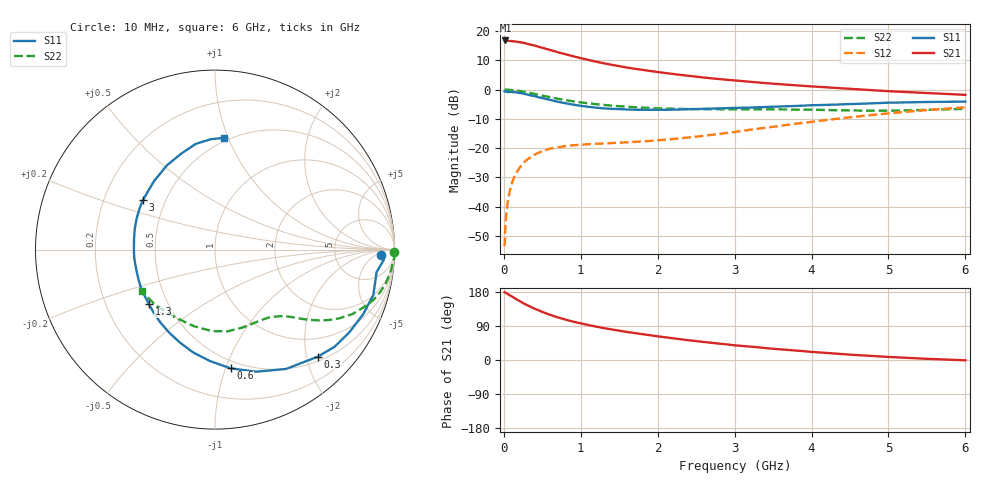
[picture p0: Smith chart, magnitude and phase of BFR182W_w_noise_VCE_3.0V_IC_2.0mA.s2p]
! (c) 2017  Infineon Technologies AG, Munich
! Infineon Technologies  Discrete & RF Semiconductors
! BFR182W
! VCE =  3.0 V,  IC =  2.0 mA
! Common Emitter S-Parameters:  Jan 2017
# GHz  S  MA  R  50
!  f  S11  S21  S12  S22
! GHz  MAG  ANG  MAG  ANG  MAG  ANG  MAG  ANG
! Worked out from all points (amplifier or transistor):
!   77 points, 10 MHz to 6 GHz, reference 50 ohm
!   highest |S21| = 16.8 dB at 20 MHz (marker M1)
!   |S21| within 3 dB of that: start of sweep to 567.7 MHz
!   unconditionally stable (mu >= 1): 1.757 GHz to 3.228 GHz
!   at 130 MHz: K = 0.09, MSG = 23.4 dB, |S12| = -30.2 dB
!   at 2.2 GHz: K = 1.09, MAG = 9.3 dB, |S12| = -16.9 dB
!   at 6 GHz: K = 0.84, MSG = 2.1 dB, |S12| = -6.1 dB
!   lowest NFmin = 0.85 dB at 450 MHz
!   S11 on the Smith chart (normalised r, x): 10 MHz: 23, -10; 300 MHz: 0.59, -2.22; 600 MHz: 0.44, -1.04; 1.3 GHz: 0.39, -0.31; 3 GHz: 0.37, +0.27; 6 GHz: 0.47, +0.96
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0.01  0.928 -1.8  6.857 178.9  0.0021 81.6  1 -0.7
0.02  0.9426 -3.4  6.935 177.9  0.0046 93.2  1 -1.7
0.05  0.9091 -7.9  6.863 174.1  0.0118 85.3  0.9956 -3.8
0.1  0.9175 -16.0  6.776 168.1  0.0239 80.7  0.9853 -7.5
0.2  0.8792 -31.5  6.489 156.0  0.0448 72.8  0.9508 -14.4
0.25  0.8589 -39.0  6.336 150.2  0.0552 68.0  0.9273 -17.5
0.3  0.8274 -46.1  6.102 145.0  0.063 64.4  0.8991 -20.3
0.4  0.7741 -59.2  5.674 135.3  0.0774 58.1  0.845 -25.2
0.5  0.7177 -71.4  5.2 126.9  0.0887 53.0  0.7906 -29.0
0.6  0.6675 -82.5  4.777 119.3  0.0977 48.8  0.7417 -32.0
0.7  0.6211 -92.7  4.372 112.6  0.1027 45.7  0.6993 -34.3
0.8  0.5857 -102.0  4.036 106.7  0.1082 43.7  0.6624 -36.3
0.9  0.5532 -110.8  3.72 101.3  0.1119 41.5  0.6316 -37.9
1.1  0.5082 -126.6  3.218 92.3  0.1168 40.0  0.583 -40.5
1.3  0.4773 -140.4  2.822 84.2  0.12 39.6  0.5474 -42.9
1.6  0.4577 -158.4  2.385 74.0  0.1255 41.2  0.5113 -46.7
2.1  0.452 177.2  1.925 59.9  0.1394 46.9  0.4753 -54.3
3  0.4875 145.6  1.437 38.8  0.1885 55.7  0.4602 -70.9
3.1  0.4898 142.7  1.4 37.1  0.197 56.1  0.4591 -72.9
4.1  0.5442 117.6  1.114 20.0  0.2922 55.2  0.4503 -94.6
5.1  0.6008 98.7  0.926 7.1  0.4029 46.7  0.4385 -124.2
6  0.6248 85.5  0.814 -0.8  0.4977 36.3  0.4707 -150.3
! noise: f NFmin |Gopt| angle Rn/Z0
0.45  0.85  0.5  30  0.26
0.9  0.99  0.4  58  0.24
1.9  1.74  0.3  142  0.14
2.4  2.11  0.26  164  0.19
